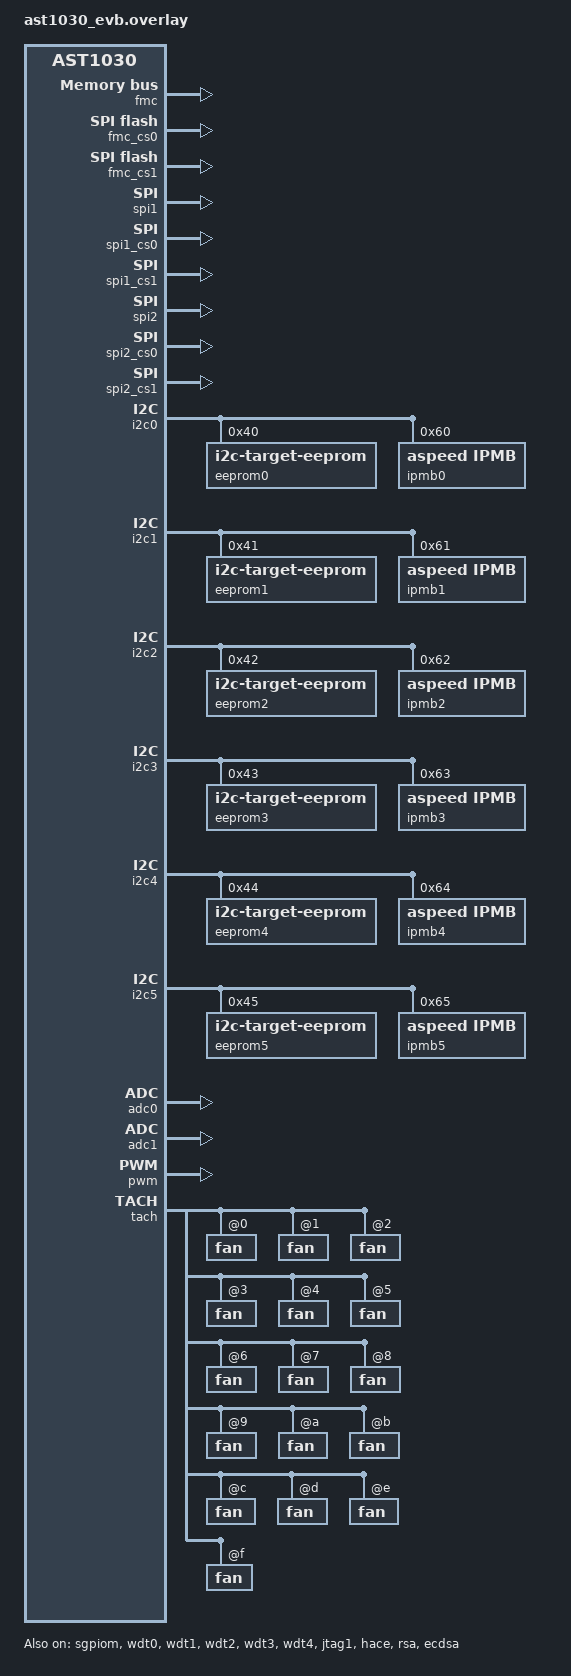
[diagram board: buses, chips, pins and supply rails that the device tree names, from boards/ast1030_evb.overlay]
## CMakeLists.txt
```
# SPDX-License-Identifier: Apache-2.0

cmake_minimum_required(VERSION 3.13.1)

find_package(Zephyr HINTS $ENV{ZEPHYR_BASE})
project(ast1030_spdm)

#zephyr_link_libraries(mbedTLS)
#zephyr_include_directories(mbedTLS)

add_subdirectory(src)
```

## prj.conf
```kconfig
# SYSTEM
CONFIG_POSIX_CLOCK=y
CONFIG_HEAP_MEM_POOL_SIZE=16384
CONFIG_THREAD_RUNTIME_STATS=y
CONFIG_STACK_SENTINEL=y
CONFIG_ENTROPY_GENERATOR=y

# LOGGING
CONFIG_LOG=y
CONFIG_LOG_BUFFER_SIZE=8192
CONFIG_COMMON_LIBC_MALLOC_ARENA_SIZE=65536
# SHELL
CONFIG_SHELL=y
CONFIG_SHELL_BACKEND_SERIAL_INIT_PRIORITY=99
CONFIG_SHELL_STACK_SIZE=4096

# DMTF/LIBSPDM
CONFIG_DMTF_LIBSPDM=y
CONFIG_DMTF_LIBSPDM_CONFIG_FILE="libspdm_config.h"

# MBEDTLS
CONFIG_MBEDTLS=y
CONFIG_MBEDTLS_BUILTIN=y
CONFIG_CUSTOM_MBEDTLS_CFG_FILE=y
CONFIG_MBEDTLS_CFG_FILE="mbedtls/libspdm_mbedtls_config.h"
CONFIG_MBEDTLS_INIT=y
CONFIG_MBEDTLS_ENABLE_HEAP=y
```

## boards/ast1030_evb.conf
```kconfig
# GPIO
CONFIG_GPIO=y
CONFIG_GPIO_ASPEED_SGPIOM=y
CONFIG_GPIO_ASPEED=y

# SPIO
CONFIG_SPI=y
CONFIG_SPI_ASPEED=y
CONFIG_SPI_NOR=n
CONFIG_SPI_NOR_MULTI_DEV=y
CONFIG_FLASH=y
CONFIG_FLASH_PAGE_LAYOUT=y

# i2C
CONFIG_I2C=y
CONFIG_I2C_ASPEED=y
CONFIG_I2C_TARGET=n

# I3C
CONFIG_I3C=y
CONFIG_I3C_ASPEED=y
CONFIG_I3C_USE_IBI=y
CONFIG_I3C_IBI_WORKQUEUE=y

# CRYPTO
CONFIG_CRYPTO=y
CONFIG_CRYPTO_ASPEED=y
CONFIG_RSA_ASPEED=y
CONFIG_HASH_SHELL=y
CONFIG_CRYPTO_SHELL=y
CONFIG_RSA_SHELL=y
CONFIG_ECDSA_SHELL=y
CONFIG_ENTROPY_ASPEED_TRNG=y

# TIMER/WATCHDOG
CONFIG_WATCHDOG=y
CONFIG_WDT_ASPEED=y
CONFIG_TIMER_ASPEED=y

# MISC
CONFIG_HWINFO=y
CONFIG_JTAG=n
CONFIG_SENSOR=n
CONFIG_REBOOT=y
CONFIG_JTAG_ASPEED=y
CONFIG_ABR_FLOW_CTRL_ASPEED=y
```

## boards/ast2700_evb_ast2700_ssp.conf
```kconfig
CONFIG_TEST_RANDOM_GENERATOR=y
CONFIG_CTR_DRBG_CSPRNG_GENERATOR=y
```

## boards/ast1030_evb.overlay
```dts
&fmc {
	status = "okay";
};

&fmc_cs0 {
	status = "okay";
	spi-max-buswidth = <4>;
	spi-max-frequency = <50000000>;

	partitions {
		compatible = "fixed-partitions";
		#address-cells = <1>;
		#size-cells = <1>;
		slot0_partition: partition@0 {
			label = "image-0";
			reg = <0x0 0x100000>;
		};
		slot1_partition: partition@1 {
		       label = "image-1";
		       reg = <0x0 0x100000>;
	       };
	};
};

&fmc_cs1 {
	status = "okay";
	spi-max-buswidth = <4>;
	spi-max-frequency = <50000000>;
};

&spi1 {
	status = "okay";
};

&spi1_cs0 {
	status = "okay";
	spi-max-buswidth = <4>;
	spi-max-frequency = <50000000>;
};

&spi1_cs1 {
	status = "okay";
	spi-max-buswidth = <4>;
	spi-max-frequency = <50000000>;
};

&spi2 {
	status = "okay";
};

&spi2_cs0 {
	status = "okay";
	spi-max-buswidth = <4>;
	spi-max-frequency = <50000000>;
};

&spi2_cs1 {
	status = "okay";
	spi-max-buswidth = <4>;
	spi-max-frequency = <50000000>;
};

&i2c0 {
	status = "okay";

	eeprom0: eeprom@40 {
		compatible = "zephyr,i2c-target-eeprom";
		reg = <0x40>;
		size = <256>;
	};

	ipmb0: ipmb@60 {
		compatible = "aspeed,ipmb";
		reg = <0x60>;
		size = <5>;
	};
};

&i2c1 {
	status = "okay";

	eeprom1: eeprom@41 {
		compatible = "zephyr,i2c-target-eeprom";
		reg = <0x41>;
		size = <256>;
	};

	ipmb1: ipmb@61 {
		compatible = "aspeed,ipmb";
		reg = <0x61>;
		size = <5>;
	};
};

&i2c2 {
	status = "okay";

	eeprom2: eeprom@42 {
		compatible = "zephyr,i2c-target-eeprom";
		reg = <0x42>;
		size = <256>;
	};

	ipmb2: ipmb@62 {
		compatible = "aspeed,ipmb";
		reg = <0x62>;
		size = <5>;
	};
};

&i2c3 {
	status = "okay";

	eeprom3: eeprom@43 {
		compatible = "zephyr,i2c-target-eeprom";
		reg = <0x43>;
		size = <256>;
	};

	ipmb3: ipmb@63 {
		compatible = "aspeed,ipmb";
		reg = <0x63>;
		size = <5>;
	};
};

&i2c4 {
	status = "okay";

	eeprom4: eeprom@44 {
		compatible = "zephyr,i2c-target-eeprom";
		reg = <0x44>;
		size = <256>;
	};

	ipmb4: ipmb@64 {
		compatible = "aspeed,ipmb";
		reg = <0x64>;
		size = <5>;
	};
};

&i2c5 {
	status = "okay";

	eeprom5: eeprom@45 {
		compatible = "zephyr,i2c-target-eeprom";
		reg = <0x45>;
		size = <256>;
	};

	ipmb5: ipmb@65 {
		compatible = "aspeed,ipmb";
		reg = <0x65>;
		size = <5>;
	};
};

&sgpiom {
	status = "okay";
	sgpiom_a_d {
		status = "okay";
	};
	sgpiom_e_h {
		status = "okay";
	};
	sgpiom_i_l {
		status = "okay";
	};
	sgpiom_m_p {
		status = "okay";
	};
};

&wdt0 {
	status = "okay";
};

&wdt1 {
	status = "okay";
};

&wdt2 {
	status = "okay";
};

&wdt3 {
	status = "okay";
};

&wdt4 {
	status = "okay";
};

&jtag1 {
	status = "okay";
};

/*
 * i3c0-to-i3c1 Loopback:
 * i3c0 plays the role as the bus controller
 * i3c1 plays the rols as the target device
 *
 * In I3C shell command, the following devices will be found:
 * i3c@7e7a2000 -> i3c0 controller
 * i3cdev@7ec80011000 -> the i3c device attached to i3c0 controller
 *
 * i3c@7e7a2000 -> i3c1 controller
 * i3c-tmq@7ec80011000 -> i3c target mqueue device
 */

#if 0
&i3c0 {
	status = "okay";
	sda-tx-hold-ns = <20>;
	i3c-pp-scl-hi-period-ns = <250>;
	i3c-pp-scl-lo-period-ns = <250>;

	i3cdev@7ec80011000 {
		compatible = "i3c-dummy-device";
		reg = <0x0 0x7ec 0x80011000>;
		status = "okay";
	};
};

&i3c1 {
	secondary;
	dcr = <0xcc>;
	status = "okay";

	i3c-tmq@7ec80011000 {
		compatible = "i3c-target-mqueue";
		reg = <0x0 0x7ec 0x80011000>;
		msg-size = <128>;
		num-of-msgs = <4>;
		mandatory-data-byte = <0xbf>;
		status = "okay";
	};
};
#endif

&adc0 {
	status = "okay";

	pinctrl-names = "default";
	pinctrl-0 = <pinctrl_adc0_default pinctrl_adc1_default
		pinctrl_adc2_default pinctrl_adc3_default
		pinctrl_adc4_default pinctrl_adc5_default
		pinctrl_adc6_default pinctrl_adc7_default>;
};

&adc1 {
	status = "okay";

	pinctrl-names = "default";
	pinctrl-0 = <pinctrl_adc8_default pinctrl_adc9_default
		pinctrl_adc10_default pinctrl_adc11_default
		pinctrl_adc12_default pinctrl_adc13_default
		pinctrl_adc14_default pinctrl_adc15_default>;
};

&pwm {
	status = "okay";

	pinctrl-names = "default";
	pinctrl-0 = <pinctrl_pwm0_default pinctrl_pwm1_default
			pinctrl_pwm2_default pinctrl_pwm3_default
			pinctrl_pwm4_default pinctrl_pwm5_default
			pinctrl_pwm6_default pinctrl_pwm7_default
			pinctrl_pwm8_default pinctrl_pwm9_default
			pinctrl_pwm10_default pinctrl_pwm11_default
			pinctrl_pwm12_default pinctrl_pwm13_default
			pinctrl_pwm14_default pinctrl_pwm15_default>;

};

&tach {
	status = "okay";

	pinctrl-names = "default";
	pinctrl-0 = <pinctrl_tach0_default pinctrl_tach1_default
			pinctrl_tach2_default pinctrl_tach3_default
			pinctrl_tach4_default pinctrl_tach5_default
			pinctrl_tach6_default pinctrl_tach7_default
			pinctrl_tach8_default pinctrl_tach9_default
			pinctrl_tach10_default pinctrl_tach11_default
			pinctrl_tach12_default pinctrl_tach13_default
			pinctrl_tach14_default pinctrl_tach15_default>;
	fan@0 {
		reg = <0>;
		pulse-pr = <2>;
		min-rpm = <1000>;
		tach-div = <5>;
	};

	fan@1 {
		reg = <1>;
		pulse-pr = <2>;
		min-rpm = <1000>;
		tach-div = <5>;
	};

	fan@2 {
		reg = <2>;
		pulse-pr = <2>;
		min-rpm = <1000>;
		tach-div = <5>;
	};

	fan@3 {
		reg = <3>;
		pulse-pr = <2>;
		min-rpm = <1000>;
		tach-div = <5>;
	};

	fan@4 {
		reg = <4>;
		pulse-pr = <2>;
		min-rpm = <1000>;
		tach-div = <5>;
	};

	fan@5 {
		reg = <5>;
		pulse-pr = <2>;
		min-rpm = <1000>;
		tach-div = <5>;
	};

	fan@6 {
		reg = <6>;
		pulse-pr = <2>;
		min-rpm = <1000>;
		tach-div = <5>;
	};

	fan@7 {
		reg = <7>;
		pulse-pr = <2>;
		min-rpm = <1000>;
		tach-div = <5>;
	};

	fan@8 {
		reg = <8>;
		pulse-pr = <2>;
		min-rpm = <1000>;
		tach-div = <5>;
	};

	fan@9 {
		reg = <9>;
		pulse-pr = <2>;
		min-rpm = <1000>;
		tach-div = <5>;
	};

	fan@a {
		reg = <0xa>;
		pulse-pr = <2>;
		min-rpm = <1000>;
		tach-div = <5>;
	};

	fan@b {
		reg = <0xb>;
		pulse-pr = <2>;
		min-rpm = <1000>;
		tach-div = <5>;
	};

	fan@c {
		reg = <0xc>;
		pulse-pr = <2>;
		min-rpm = <1000>;
		tach-div = <5>;
	};

	fan@d {
		reg = <0xd>;
		pulse-pr = <2>;
		min-rpm = <1000>;
		tach-div = <5>;
	};

	fan@e {
		reg = <0xe>;
		pulse-pr = <2>;
		min-rpm = <1000>;
		tach-div = <5>;
	};

	fan@f {
		reg = <0xf>;
		pulse-pr = <2>;
		min-rpm = <1000>;
		tach-div = <5>;
	};
};

&hace {
	status = "okay";
};

&rsa {
	status = "okay";
};

&ecdsa {
	status = "okay";
};
```

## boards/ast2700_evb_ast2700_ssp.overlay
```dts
&dram_ro_region {
	reg = <0x0 DT_SIZE_K(512)>;
};

&dram_rw_region {
	reg = <DT_SIZE_K(512) DT_SIZE_K(1024)>;
};
```

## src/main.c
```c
#include <stdio.h>
#include <stdlib.h>
#include <zephyr.h>
#include <stdint.h>
#include <assert.h>

#include <logging/log.h>
LOG_MODULE_REGISTER(main, CONFIG_LOG_DEFAULT_LEVEL);

#include <spdm_req.h>
#include <spdm_rsp.h>

#define SPDM_REQUESTER_PRIO 4
#define SPDM_REQUESTER_STACK_SIZE 16384
K_THREAD_STACK_DEFINE(spdm_requester_stack, SPDM_REQUESTER_STACK_SIZE);
struct k_thread spdm_requester_thread_data;
k_tid_t spdm_requester_tid;

#define SPDM_RESPONDER_PRIO 4
#define SPDM_RESPONDER_STACK_SIZE 16384
K_THREAD_STACK_DEFINE(spdm_responder_stack, SPDM_RESPONDER_STACK_SIZE);
struct k_thread spdm_responder_thread_data;
k_tid_t spdm_responder_tid;

int main()
{
	spdm_responder_tid = k_thread_create(
		&spdm_responder_thread_data,
		spdm_responder_stack,
		K_THREAD_STACK_SIZEOF(spdm_responder_stack),
		//spdm_responder_main,
		spdm_responder_main,
		NULL, NULL, NULL,
		SPDM_RESPONDER_PRIO, 0, K_MSEC(10));
	k_thread_name_set(spdm_responder_tid, "SPDM RSP");

	spdm_requester_tid = k_thread_create(
		&spdm_requester_thread_data,
		spdm_requester_stack,
		K_THREAD_STACK_SIZEOF(spdm_requester_stack),
		//spdm_requester_main,
		spdm_requester_main,
		NULL, NULL, NULL,
		SPDM_REQUESTER_PRIO, 0, K_MSEC(20));
	k_thread_name_set(spdm_requester_tid, "SPDM REQ");

	return 0;
}
```

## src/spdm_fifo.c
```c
/*
 * Copyright (c) 2022 ASPEED Technology Inc.
 *
 * SPDX-License-Identifier: MIT
 */

#include <zephyr/kernel.h>

K_FIFO_DEFINE(REQ_TO_RSP);
K_FIFO_DEFINE(RSP_TO_REQ);
```

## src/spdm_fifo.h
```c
#include <zephyr.h>

#pragma once
extern struct k_fifo REQ_TO_RSP;
extern struct k_fifo RSP_TO_REQ;

struct spdm_fifo_item_t {
	void *fifo_reserved;
	uint8_t *message;
	size_t message_size;
};
```

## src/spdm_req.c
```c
/*
 * Copyright (c) 2022 ASPEED Technology Inc.
 *
 * SPDX-License-Identifier: MIT
 */

#include "library/cryptlib/cryptlib_cert.h"
#include "library/spdm_return_status.h"
#include <stdlib.h>
#include <assert.h>

#include <zephyr/kernel.h>
#include <zephyr/logging/log.h>

#include <spdm_fifo.h>

LOG_MODULE_REGISTER(spdm_req, CONFIG_LOG_DEFAULT_LEVEL);

#include <industry_standard/spdm.h>
#include <library/spdm_common_lib.h>
#include <library/spdm_requester_lib.h>
#include <library/spdm_transport_mctp_lib.h>
#include <hal/library/memlib.h>
#include <hal/library/cryptlib/cryptlib_cert.h>
#include <spdm_device_secret_lib_internal.h>
#include <cert.h>

#define NDEBUG
#define LIBSPDM_MAX_SPDM_MSG_SIZE 2048
#define LIBSPDM_MAX_SENDER_RECEIVER_BUFFER_SIZE (1024 - 0x100)
#define LIBSPDM_SENDER_BUFFER_SIZE LIBSPDM_MAX_SENDER_RECEIVER_BUFFER_SIZE
#define LIBSPDM_RECEIVER_BUFFER_SIZE LIBSPDM_MAX_SENDER_RECEIVER_BUFFER_SIZE
#define LIBSPDM_ASSERT(x) assert(x)

static bool m_send_receive_buffer_acquired = false;
static uint8_t m_send_receive_buffer[LIBSPDM_MAX_SENDER_RECEIVER_BUFFER_SIZE];
static libspdm_return_t spdm_device_acquire_sender_buffer (
	void *context, void **msg_buf_ptr)
{
	LIBSPDM_ASSERT (!m_send_receive_buffer_acquired);
	*msg_buf_ptr = m_send_receive_buffer;
	libspdm_zero_mem (m_send_receive_buffer, sizeof(m_send_receive_buffer));
	m_send_receive_buffer_acquired = true;
	return LIBSPDM_STATUS_SUCCESS;
}

static void spdm_device_release_sender_buffer (
	void *context, const void *msg_buf_ptr)
{
	LIBSPDM_ASSERT (m_send_receive_buffer_acquired);
	LIBSPDM_ASSERT (msg_buf_ptr == m_send_receive_buffer);
	m_send_receive_buffer_acquired = false;
	return;
}

static libspdm_return_t spdm_device_acquire_receiver_buffer (
	void *context, void **msg_buf_ptr)
{
	LIBSPDM_ASSERT (!m_send_receive_buffer_acquired);
	*msg_buf_ptr = m_send_receive_buffer;
	libspdm_zero_mem (m_send_receive_buffer, sizeof(m_send_receive_buffer));
	m_send_receive_buffer_acquired = true;
	return LIBSPDM_STATUS_SUCCESS;
}

static void spdm_device_release_receiver_buffer (
	void *context, const void *msg_buf_ptr)
{
	LIBSPDM_ASSERT (m_send_receive_buffer_acquired);
	LIBSPDM_ASSERT (msg_buf_ptr == m_send_receive_buffer);
	m_send_receive_buffer_acquired = false;
	return;
}

static libspdm_return_t spdm_device_send_message(void *spdm_context,
					  size_t message_size,
					  const void *message,
					  uint64_t timeout)
{
	LOG_DBG("spdm_device_send_message ctx=%p buffer=%p", spdm_context, message);
	LOG_HEXDUMP_DBG(message, message_size, "spdm_device_send_message");
	
	struct spdm_fifo_item_t *item = (struct spdm_fifo_item_t *)malloc(sizeof(struct spdm_fifo_item_t));
	item->fifo_reserved = NULL;
	item->message = (uint8_t *)malloc(message_size);
	memcpy(item->message, message, message_size);
	item->message_size = message_size;

	k_fifo_put(&REQ_TO_RSP, item);
	return 0;
}


static libspdm_return_t spdm_device_receive_message(void *spdm_context, size_t *message_size, void **message, uint64_t timeout)
{
	struct spdm_fifo_item_t *item = k_fifo_get(&RSP_TO_REQ, K_FOREVER);
	LOG_DBG("spdm_device_receive_message ctx=%p message=%p size=%d", spdm_context, item->message, item->message_size);

	if (item != NULL && item->message != NULL)
	{
		uint8_t *buffer = *message;
		*message_size = item->message_size;
		memcpy(buffer, item->message, item->message_size);
		LOG_HEXDUMP_DBG(buffer, item->message_size, "Incoming message");
		free(item->message);
		free(item);
	}

	return 0;
}

static void *spdm_client_init()
{
	void *spdm_ctx = (void *)malloc(libspdm_get_context_size());
	libspdm_return_t ret;
	bool res;
	
	LOG_INF("SPDM context size=%d ptr=%p", libspdm_get_context_size(), spdm_ctx);
	assert(spdm_ctx != NULL);

	libspdm_init_context(spdm_ctx);
	

	libspdm_register_device_io_func (
		spdm_ctx,
		spdm_device_send_message,
		spdm_device_receive_message);

	libspdm_register_transport_layer_func (
		spdm_ctx,
		LIBSPDM_MAX_SPDM_MSG_SIZE, // defined by the Integrator
		LIBSPDM_MCTP_TRANSPORT_HEADER_SIZE,
		LIBSPDM_MCTP_TRANSPORT_TAIL_SIZE,
		libspdm_transport_mctp_encode_message,
		libspdm_transport_mctp_decode_message);

	libspdm_register_device_buffer_func (
		spdm_ctx,
		LIBSPDM_SENDER_BUFFER_SIZE, // defined by the Integrator
		LIBSPDM_RECEIVER_BUFFER_SIZE, // defined by the Integrator
		spdm_device_acquire_sender_buffer,
		spdm_device_release_sender_buffer,
		spdm_device_acquire_receiver_buffer,
		spdm_device_release_receiver_buffer);


	LOG_INF("m_send_receive_buffer=%p", (void *)m_send_receive_buffer);

	size_t scratch_buffer_size = libspdm_get_sizeof_required_scratch_buffer(spdm_ctx);
	void *scratch_buffer = (void *)malloc(scratch_buffer_size);

	LOG_INF("SPDM scratch_buffer size=%d ptr=%p", scratch_buffer_size, scratch_buffer);
	assert(scratch_buffer != NULL);

	libspdm_set_scratch_buffer(spdm_ctx, scratch_buffer, scratch_buffer_size);
	libspdm_data_parameter_t parameter;
	spdm_version_number_t spdm_version[3];
	uint64_t data64;
	uint32_t data32;
	uint16_t data16;
	uint8_t data8;

	libspdm_zero_mem(&parameter, sizeof(parameter));
	parameter.location = LIBSPDM_DATA_LOCATION_LOCAL;
	spdm_version[0] = SPDM_MESSAGE_VERSION_10 << SPDM_VERSION_NUMBER_SHIFT_BIT;
	spdm_version[1] = SPDM_MESSAGE_VERSION_11 << SPDM_VERSION_NUMBER_SHIFT_BIT;
	spdm_version[2] = SPDM_MESSAGE_VERSION_12 << SPDM_VERSION_NUMBER_SHIFT_BIT;
	libspdm_set_data(spdm_ctx, LIBSPDM_DATA_SPDM_VERSION, &parameter, &spdm_version, sizeof(spdm_version));

	libspdm_zero_mem(&parameter, sizeof(parameter));
	parameter.location = LIBSPDM_DATA_LOCATION_LOCAL;
	data8 = 0;
	libspdm_set_data(spdm_ctx, LIBSPDM_DATA_CAPABILITY_CT_EXPONENT, &parameter, &data8, sizeof(data8));

	libspdm_zero_mem(&parameter, sizeof(parameter));
	parameter.location = LIBSPDM_DATA_LOCATION_LOCAL;
	data32 = 0 | \
		SPDM_GET_CAPABILITIES_REQUEST_FLAGS_CERT_CAP |
		SPDM_GET_CAPABILITIES_REQUEST_FLAGS_CHAL_CAP |
		SPDM_GET_CAPABILITIES_REQUEST_FLAGS_ENCRYPT_CAP |
		SPDM_GET_CAPABILITIES_REQUEST_FLAGS_MAC_CAP |
		/* SPDM_GET_CAPABILITIES_REQUEST_FLAGS_MUT_AUTH_CAP | */
		SPDM_GET_CAPABILITIES_REQUEST_FLAGS_KEY_EX_CAP |
		/* SPDM_GET_CAPABILITIES_REQUEST_FLAGS_PSK_CAP_REQUESTER | */
		SPDM_GET_CAPABILITIES_REQUEST_FLAGS_ENCAP_CAP |
		SPDM_GET_CAPABILITIES_REQUEST_FLAGS_HBEAT_CAP |
		SPDM_GET_CAPABILITIES_REQUEST_FLAGS_KEY_UPD_CAP |
		SPDM_GET_CAPABILITIES_REQUEST_FLAGS_CHUNK_CAP |
		/* SPDM_GET_CAPABILITIES_REQUEST_FLAGS_HANDSHAKE_IN_THE_CLEAR_CAP |
	  * SPDM_GET_CAPABILITIES_REQUEST_FLAGS_PUB_KEY_ID_CAP |*/
		0;
	libspdm_set_data(spdm_ctx, LIBSPDM_DATA_CAPABILITY_FLAGS, &parameter, &data32, sizeof(data32));

	libspdm_zero_mem(&parameter, sizeof(parameter));
	parameter.location = LIBSPDM_DATA_LOCATION_LOCAL;
	data64 = 0;
	libspdm_set_data (spdm_ctx, LIBSPDM_DATA_CAPABILITY_RTT_US, &parameter, &data64, sizeof(data64));

	libspdm_zero_mem(&parameter, sizeof(parameter));
	parameter.location = LIBSPDM_DATA_LOCATION_LOCAL;
	data8 = SPDM_MEASUREMENT_SPECIFICATION_DMTF;
	libspdm_set_data (spdm_ctx, LIBSPDM_DATA_MEASUREMENT_SPEC, &parameter, &data8, sizeof(data8));

	libspdm_zero_mem(&parameter, sizeof(parameter));
	parameter.location = LIBSPDM_DATA_LOCATION_LOCAL;
	data32 = 0 | \
		SPDM_ALGORITHMS_BASE_ASYM_ALGO_TPM_ALG_ECDSA_ECC_NIST_P256 | \
		SPDM_ALGORITHMS_BASE_ASYM_ALGO_TPM_ALG_ECDSA_ECC_NIST_P384 | \
		0;
	libspdm_set_data (spdm_ctx, LIBSPDM_DATA_BASE_ASYM_ALGO, &parameter, &data32, sizeof(data32));

	libspdm_zero_mem(&parameter, sizeof(parameter));
	parameter.location = LIBSPDM_DATA_LOCATION_LOCAL;
	data32 = 0 | \
		SPDM_ALGORITHMS_BASE_HASH_ALGO_TPM_ALG_SHA_256 | \
		SPDM_ALGORITHMS_BASE_HASH_ALGO_TPM_ALG_SHA_384 | \
		0;
	libspdm_set_data (spdm_ctx, LIBSPDM_DATA_BASE_HASH_ALGO, &parameter, &data32, sizeof(data32));

	libspdm_zero_mem(&parameter, sizeof(parameter));
	parameter.location = LIBSPDM_DATA_LOCATION_LOCAL;
	data16 = 0 | \
		SPDM_ALGORITHMS_DHE_NAMED_GROUP_SECP_256_R1 | \
		SPDM_ALGORITHMS_DHE_NAMED_GROUP_SECP_384_R1 | \
		0;
	ret = libspdm_set_data (spdm_ctx, LIBSPDM_DATA_DHE_NAME_GROUP, &parameter, &data16, sizeof(data16));

	libspdm_zero_mem(&parameter, sizeof(parameter));
	parameter.location = LIBSPDM_DATA_LOCATION_LOCAL;
	data16 = 0 | \
		SPDM_ALGORITHMS_AEAD_CIPHER_SUITE_AES_256_GCM | \
		0;
	libspdm_set_data (spdm_ctx, LIBSPDM_DATA_AEAD_CIPHER_SUITE, &parameter, &data16, sizeof(data16));

	libspdm_zero_mem(&parameter, sizeof(parameter));
	parameter.location = LIBSPDM_DATA_LOCATION_LOCAL;
	data16 = 0 | \
		SPDM_ALGORITHMS_BASE_ASYM_ALGO_TPM_ALG_ECDSA_ECC_NIST_P256 | \
		SPDM_ALGORITHMS_BASE_ASYM_ALGO_TPM_ALG_ECDSA_ECC_NIST_P384 | \
		0;
	libspdm_set_data (spdm_ctx, LIBSPDM_DATA_REQ_BASE_ASYM_ALG, &parameter, &data16, sizeof(data16));

	libspdm_zero_mem(&parameter, sizeof(parameter));
	parameter.location = LIBSPDM_DATA_LOCATION_LOCAL;
	data16 = 0 | \
		SPDM_ALGORITHMS_KEY_SCHEDULE_HMAC_HASH | \
		0;
	libspdm_set_data (spdm_ctx, LIBSPDM_DATA_KEY_SCHEDULE, &parameter, &data16, sizeof(data16));

	libspdm_zero_mem(&parameter, sizeof(parameter));
	parameter.location = LIBSPDM_DATA_LOCATION_LOCAL;
	data8 = SPDM_ALGORITHMS_OPAQUE_DATA_FORMAT_1;
	libspdm_set_data(spdm_ctx, LIBSPDM_DATA_OTHER_PARAMS_SUPPORT, &parameter,
		  &data8, sizeof(data8));

#if LIBSPDM_CHECK_SPDM_CONTEXT
	res = libspdm_check_context(spdm_ctx);
	if (!res) {
		LOG_ERR("SPDM Context check invalid");
		goto cleanup;
	}
#endif

	ret = libspdm_init_connection(spdm_ctx, 0);
	if (ret != LIBSPDM_STATUS_SUCCESS) {
		LOG_ERR("libspdm_init_connetion ret=%08x", ret);
		goto cleanup;
	}

	uint32_t use_asym_algo, use_hash_algo;
	void *data = NULL, *hash = NULL;
	const uint8_t *root_cert = NULL;
	size_t data_size, hash_size, root_cert_size;
	
	parameter.location = LIBSPDM_DATA_LOCATION_CONNECTION;
	data_size = sizeof(data32);
	libspdm_get_data(spdm_ctx, LIBSPDM_DATA_BASE_ASYM_ALGO, &parameter, &data32, &data_size);
	use_asym_algo = data32;

	parameter.location = LIBSPDM_DATA_LOCATION_CONNECTION;
	data_size = sizeof(data32);
	libspdm_get_data(spdm_ctx, LIBSPDM_DATA_BASE_HASH_ALGO, &parameter, &data32, &data_size);
	use_hash_algo = data32;

	res = libspdm_read_responder_root_public_certificate(use_hash_algo, use_asym_algo, &data, &data_size, &hash, &hash_size);
	if (res) {
		libspdm_x509_get_cert_from_cert_chain(
			(uint8_t *)data + sizeof(spdm_cert_chain_t) + hash_size, 
			data_size - sizeof(spdm_cert_chain_t) - hash_size,
			0, &root_cert, &root_cert_size);

		libspdm_zero_mem(&parameter, sizeof(parameter));
		parameter.location = LIBSPDM_DATA_LOCATION_LOCAL;
		libspdm_set_data(spdm_ctx, LIBSPDM_DATA_PEER_PUBLIC_ROOT_CERT, &parameter, (void *)root_cert, root_cert_size);
	}

	return spdm_ctx;

cleanup:
	LOG_INF("Clean up");
	libspdm_deinit_context(spdm_ctx);
	free(scratch_buffer);
	free(spdm_ctx);
	return NULL;
}

libspdm_return_t
spdm_authentication(void *context, uint8_t *slot_mask,
		    void *total_digest_buffer, uint8_t slot_id,
		    size_t *cert_chain_size, void *cert_chain,
		    uint8_t measurement_hash_type, void *measurement_hash)
{
	libspdm_return_t status;
	size_t cert_chain_buffer_size;
	uint8_t index;
	uint8_t m_other_slot_id = 0;	

	status = libspdm_get_digest(context, NULL, slot_mask,
	total_digest_buffer);
	if (LIBSPDM_STATUS_IS_ERROR(status)) {
		return status;
	}
	for (index = 1; index < SPDM_MAX_SLOT_COUNT; index++) {
		if ((*slot_mask & (1 << index)) != 0) {
			m_other_slot_id = index;
		}
	}

	cert_chain_buffer_size = *cert_chain_size;

	if (slot_id != 0xFF) {
		if (slot_id == 0) {
			status = libspdm_get_certificate(
				context, NULL, 0, cert_chain_size, cert_chain);
			if (LIBSPDM_STATUS_IS_ERROR(status)) {
				LOG_ERR("libspdm_get_certificate 0 status=%08x", status);
				return status;
			}
			if (m_other_slot_id != 0) {
				*cert_chain_size = cert_chain_buffer_size;
				libspdm_zero_mem(cert_chain, cert_chain_buffer_size);
				status = libspdm_get_certificate(
					context, NULL, m_other_slot_id, cert_chain_size, cert_chain);
			if (LIBSPDM_STATUS_IS_ERROR(status)) {
				LOG_ERR("libspdm_get_certificate 1 status=%08x", status);
					return status;
				}
			}
			} else {
			status = libspdm_get_certificate(
				context, NULL, slot_id, cert_chain_size, cert_chain);
			if (LIBSPDM_STATUS_IS_ERROR(status)) {
				LOG_ERR("libspdm_get_certificate 2 status=%08x", status);
				return status;
			}
		}
	}

	status = libspdm_challenge(context, NULL, slot_id, measurement_hash_type,
			    measurement_hash, NULL);
	if (LIBSPDM_STATUS_IS_ERROR(status)) {
				LOG_ERR("libspdm_challenge 3 status=%08x", status);
		return status;
	}

	status = libspdm_get_digest(context, NULL, slot_mask,
	total_digest_buffer);
	if (LIBSPDM_STATUS_IS_ERROR(status)) {
				LOG_ERR("libspdm_get_digest 3 status=%08x", status);
		return status;
	}

	if (slot_id != 0xFF) {
		*cert_chain_size = cert_chain_buffer_size;
		status = libspdm_get_certificate(
			context, NULL, slot_id, cert_chain_size, cert_chain);
		if (LIBSPDM_STATUS_IS_ERROR(status)) {
				LOG_ERR("libspdm_get_certificate 3 status=%08x", status);
			return status;
		}
	}

	status = libspdm_get_digest(context, NULL, slot_mask,
	total_digest_buffer);
	if (LIBSPDM_STATUS_IS_ERROR(status)) {
				LOG_ERR("libspdm_get_digest 3 status=%08x", status);
		return status;
	}

	return LIBSPDM_STATUS_SUCCESS;
}

libspdm_return_t do_authentication_via_spdm(void *spdm_context)
{
	libspdm_return_t status;
	uint8_t slot_mask;
	uint8_t total_digest_buffer[LIBSPDM_MAX_HASH_SIZE * SPDM_MAX_SLOT_COUNT];
	uint8_t measurement_hash[LIBSPDM_MAX_HASH_SIZE];
	size_t cert_chain_size;
	uint8_t cert_chain[LIBSPDM_MAX_CERT_CHAIN_SIZE];

	libspdm_zero_mem(total_digest_buffer, sizeof(total_digest_buffer));
	cert_chain_size = sizeof(cert_chain);
	libspdm_zero_mem(cert_chain, sizeof(cert_chain));
	libspdm_zero_mem(measurement_hash, sizeof(measurement_hash));
	status = spdm_authentication(spdm_context, &slot_mask,
			      &total_digest_buffer, 0,
			      &cert_chain_size, cert_chain,
			      SPDM_CHALLENGE_REQUEST_ALL_MEASUREMENTS_HASH,
			      measurement_hash);
	if (LIBSPDM_STATUS_IS_ERROR(status)) {
		return status;
	}
	return LIBSPDM_STATUS_SUCCESS;
}

/**
 * This function executes SPDM measurement and extend to TPM.
 *
 * @param[in]  spdm_context            The SPDM context for the device.
 **/
libspdm_return_t spdm_send_receive_get_measurement(void *spdm_context,
						   const uint32_t *session_id,
						   uint32_t use_measurement_operation,
						   uint8_t use_slot_id,
						   uint8_t use_measurement_attribute)
{
	libspdm_return_t status;
	uint8_t number_of_blocks;
	uint8_t number_of_block;
	uint8_t received_number_of_block;
	uint32_t measurement_record_length;
	uint8_t measurement_record[LIBSPDM_MAX_MEASUREMENT_RECORD_SIZE];
	uint8_t index;
	uint8_t request_attribute;

	if (use_measurement_operation == SPDM_GET_MEASUREMENTS_REQUEST_MEASUREMENT_OPERATION_ALL_MEASUREMENTS) {

		/* request all at one time.*/

		request_attribute =
			SPDM_GET_MEASUREMENTS_REQUEST_ATTRIBUTES_GENERATE_SIGNATURE;
		measurement_record_length = sizeof(measurement_record);
		status = libspdm_get_measurement(
			spdm_context, session_id, request_attribute,
			SPDM_GET_MEASUREMENTS_REQUEST_MEASUREMENT_OPERATION_ALL_MEASUREMENTS,
			use_slot_id & 0xF, NULL, &number_of_block,
			&measurement_record_length, measurement_record);
		if (LIBSPDM_STATUS_IS_ERROR(status)) {
			return status;
		}
	} else {
		request_attribute = use_measurement_attribute;

		/* 1. query the total number of measurements available.*/

		status = libspdm_get_measurement(
			spdm_context, session_id, request_attribute,
			SPDM_GET_MEASUREMENTS_REQUEST_MEASUREMENT_OPERATION_TOTAL_NUMBER_OF_MEASUREMENTS,
			use_slot_id & 0xF, NULL, &number_of_blocks, NULL, NULL);
		if (LIBSPDM_STATUS_IS_ERROR(status)) {
			return status;
		}
		LOG_INF("Number of blocks = %d", number_of_blocks);
		received_number_of_block = 0;
		for (index = 1; index <= 0xFE; index++) {
			if (received_number_of_block == number_of_blocks) {
				break;
			}
			LOG_INF("Index %d", index);

			/* 2. query measurement one by one
			 * get signature in last message only.*/

			if (received_number_of_block == number_of_blocks - 1) {
				request_attribute = use_measurement_attribute |
					SPDM_GET_MEASUREMENTS_REQUEST_ATTRIBUTES_GENERATE_SIGNATURE;
			}
			measurement_record_length = sizeof(measurement_record);
			status = libspdm_get_measurement(
				spdm_context, session_id, request_attribute,
				index, use_slot_id & 0xF, NULL, &number_of_block,
				&measurement_record_length, measurement_record);
			if (LIBSPDM_STATUS_IS_ERROR(status)) {
				continue;
			}
			received_number_of_block += 1;
		}
		if (received_number_of_block != number_of_blocks) {
			return LIBSPDM_STATUS_INVALID_STATE_PEER;
		}
	}
	return LIBSPDM_STATUS_SUCCESS;
}

/**
 * This function executes SPDM measurement and extend to TPM.
 *
 * @param[in]  spdm_context            The SPDM context for the device.
 **/
libspdm_return_t do_measurement_via_spdm(void *spdm_context, const uint32_t *session_id)
{
	libspdm_return_t status;

	status = spdm_send_receive_get_measurement(spdm_context, session_id, SPDM_GET_MEASUREMENTS_REQUEST_MEASUREMENT_OPERATION_ALL_MEASUREMENTS, 0, SPDM_GET_MEASUREMENTS_REQUEST_ATTRIBUTES_GENERATE_SIGNATURE);
	if (LIBSPDM_STATUS_IS_ERROR(status)) {
		return status;
	}
	return LIBSPDM_STATUS_SUCCESS;
}

libspdm_return_t do_session_via_spdm(void *spdm_context, bool use_psk, uint32_t *session_id)
{
	libspdm_return_t status;
	uint8_t heartbeat_period;
	uint8_t measurement_hash[LIBSPDM_MAX_HASH_SIZE];

	heartbeat_period = 0;
	libspdm_zero_mem(measurement_hash, sizeof(measurement_hash));
	status = libspdm_start_session(spdm_context, use_psk,
				LIBSPDM_TEST_PSK_HINT_STRING,
				sizeof(LIBSPDM_TEST_PSK_HINT_STRING),
				SPDM_CHALLENGE_REQUEST_TCB_COMPONENT_MEASUREMENT_HASH,
				0, 0, session_id,
				&heartbeat_period, measurement_hash);
	if (LIBSPDM_STATUS_IS_ERROR(status)) {
		LOG_ERR("libspdm_start_session - %x", (uint32_t)status);
		return status;
	}

	status = libspdm_heartbeat(spdm_context, *session_id);
	if (LIBSPDM_STATUS_IS_ERROR(status)) {
		LOG_ERR("libspdm_heartbeat - %x", (uint32_t)status);
	}

	return status;
}


void spdm_requester_main(void *a, void *b, void *c)
{
	void *spdm_context = NULL;
	libspdm_return_t status;

	spdm_context = spdm_client_init();
	if (spdm_context != NULL) {
		status = do_authentication_via_spdm(spdm_context);
		if (LIBSPDM_STATUS_IS_ERROR(status)) {
			LOG_ERR("do_authentication_via_spdm ret=%08x", status);
			goto cleanup;
		}

		LOG_INF("SPDM Authentication Success");

		uint32_t count = 0;
		do {
			status = do_measurement_via_spdm(spdm_context, NULL);
			if (LIBSPDM_STATUS_IS_ERROR(status)) {
				LOG_ERR("do_measurement_via_spdm - %x\n", (uint32_t)status);
				goto cleanup;
			}

			LOG_INF("SPDM Measuremnt Success count=%d", ++count);
			k_msleep(1);
		} while (0);

		uint32_t session_id = 0x0123;
		status = do_session_via_spdm(spdm_context, false, &session_id);
		if (LIBSPDM_STATUS_IS_ERROR(status)) {
			LOG_ERR("do_session_via_spdm - %x", status);
			goto cleanup;
		}
		LOG_INF("Session initiated");

		do {
			status = libspdm_heartbeat(spdm_context, session_id);
			if (LIBSPDM_STATUS_IS_ERROR(status)) {
				LOG_ERR("libspdm_heartbeat - %x", status);
				goto cleanup;
			}

			status = do_measurement_via_spdm(spdm_context, &session_id);
			if (LIBSPDM_STATUS_IS_ERROR(status)) {
				LOG_ERR("do_measurement_via_spdm - %x\n", (uint32_t)status);
				goto cleanup;
			}

			LOG_INF("SPDM Measuremnt success count=%d", ++count);
			k_msleep(100);
		} while (1);
cleanup:
		libspdm_deinit_context(spdm_context);
		free(spdm_context);
	}

	while (1) {
		k_msleep(1000);
	}
}
```

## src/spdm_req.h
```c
#pragma once

void spdm_requester_main(void *a, void *b, void *c);
```

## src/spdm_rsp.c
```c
/*
 * Copyright (c) 2022 ASPEED Technology Inc.
 *
 * SPDX-License-Identifier: MIT
 */

#include <stdlib.h>
#include <assert.h>
#include <zephyr/kernel.h>

#include <spdm_rsp.h>
#include <spdm_fifo.h>

#include <zephyr/logging/log.h>

LOG_MODULE_REGISTER(spdm_rsp, CONFIG_LOG_DEFAULT_LEVEL);

#include <industry_standard/spdm.h>
#include <library/spdm_common_lib.h>
#include <library/spdm_responder_lib.h>
#include <library/spdm_transport_mctp_lib.h>
#include <hal/library/memlib.h>

#include <cert.h>

#define NDEBUG
#define LIBSPDM_MAX_SPDM_MSG_SIZE 2048
#define LIBSPDM_MAX_SENDER_RECEIVER_BUFFER_SIZE (1024 - 0x100)
#define LIBSPDM_SENDER_BUFFER_SIZE LIBSPDM_MAX_SENDER_RECEIVER_BUFFER_SIZE
#define LIBSPDM_RECEIVER_BUFFER_SIZE LIBSPDM_MAX_SENDER_RECEIVER_BUFFER_SIZE
#define LIBSPDM_ASSERT(x) assert(x)

static bool m_send_receive_buffer_acquired = false;
static uint8_t m_send_receive_buffer[LIBSPDM_MAX_SENDER_RECEIVER_BUFFER_SIZE];
static libspdm_return_t spdm_device_acquire_sender_buffer (
	void *context, void **msg_buf_ptr)
{
	LIBSPDM_ASSERT (!m_send_receive_buffer_acquired);
	*msg_buf_ptr = m_send_receive_buffer;
	libspdm_zero_mem (m_send_receive_buffer, sizeof(m_send_receive_buffer));
	m_send_receive_buffer_acquired = true;
	return LIBSPDM_STATUS_SUCCESS;
}

static void spdm_device_release_sender_buffer (
	void *context, const void *msg_buf_ptr)
{
	LIBSPDM_ASSERT (m_send_receive_buffer_acquired);
	LIBSPDM_ASSERT (msg_buf_ptr == m_send_receive_buffer);
	m_send_receive_buffer_acquired = false;
	return;
}

static libspdm_return_t spdm_device_acquire_receiver_buffer (
	void *context, void **msg_buf_ptr)
{
	LIBSPDM_ASSERT (!m_send_receive_buffer_acquired);
	*msg_buf_ptr = m_send_receive_buffer;
	libspdm_zero_mem (m_send_receive_buffer, sizeof(m_send_receive_buffer));
	m_send_receive_buffer_acquired = true;
	return LIBSPDM_STATUS_SUCCESS;
}

static void spdm_device_release_receiver_buffer (
	void *context, const void *msg_buf_ptr)
{
	LIBSPDM_ASSERT (m_send_receive_buffer_acquired);
	LIBSPDM_ASSERT (msg_buf_ptr == m_send_receive_buffer);
	m_send_receive_buffer_acquired = false;
	return;
}

static libspdm_return_t spdm_device_send_message(void *spdm_context,
					  size_t message_size,
					  const void *message,
					  uint64_t timeout)
{
//	LOG_INF("spdm_device_send_message ctx=%p buffer=%p", spdm_context, message);
//	LOG_HEXDUMP_DBG(message, message_size, "spdm_device_send_message");
	struct spdm_fifo_item_t *item = (struct spdm_fifo_item_t *)malloc(sizeof(struct spdm_fifo_item_t));
	item->fifo_reserved = NULL;
	item->message = (uint8_t *)malloc(message_size);
	memcpy(item->message, message, message_size);
	item->message_size = message_size;

	k_fifo_put(&RSP_TO_REQ, item);

	return 0;
}

static libspdm_return_t spdm_device_receive_message(void *spdm_context, size_t *message_size, void **message, uint64_t timeout)
{
	struct spdm_fifo_item_t *item = k_fifo_get(&REQ_TO_RSP, K_FOREVER);
	//LOG_INF("spdm_device_receive_message ctx=%p message=%p size=%d", spdm_context, item->message, item->message_size);

	if (item != NULL && item->message != NULL)
	{
		uint8_t *buffer = *message;
		*message_size = item->message_size;
		memcpy(buffer, item->message, item->message_size);
		//LOG_HEXDUMP_DBG(buffer, item->message_size, "Incoming message");
		free(item->message);
		free(item);
	}

	return 0;
}

void spdm_server_connection_state_callback(
    void *spdm_context, libspdm_connection_state_t connection_state)
{
	bool res;
	void *data;
	void *data1;
	size_t data_size;
	size_t data1_size;
	libspdm_data_parameter_t parameter;
	uint8_t data8;
	uint16_t data16;
	uint32_t data32;
	libspdm_return_t status;
	void *hash;
	size_t hash_size;
	const uint8_t *root_cert;
	size_t root_cert_size;
	uint8_t index;
	spdm_version_number_t spdm_version;


	uint32_t m_use_measurement_hash_algo, m_use_asym_algo, m_use_hash_algo, m_use_req_asym_algo;
	uint8_t m_use_version = SPDM_MESSAGE_VERSION_10, m_use_slot_count = 1;

	switch (connection_state) {
		case LIBSPDM_CONNECTION_STATE_NOT_STARTED:
			/* clear perserved state*/
			//spdm_clear_negotiated_state(spdm_context);
			break;

		case LIBSPDM_CONNECTION_STATE_AFTER_VERSION:
#if 0
			if ((m_exe_connection & EXE_CONNECTION_VERSION_ONLY) != 0) {
				/* GET_VERSION is done, handle special PSK use case*/
				status = spdm_provision_psk_version_only (spdm_context, false);
				if (LIBSPDM_STATUS_IS_ERROR(status)) {
					LIBSPDM_ASSERT (false);
					return;
				}
				/* pass through to NEGOTIATED */
			} else {
				/* normal action - do nothing */
				break;
			}
#else
			break;
#endif
		case LIBSPDM_CONNECTION_STATE_NEGOTIATED:

			if (m_use_version == 0) {
				libspdm_zero_mem(&parameter, sizeof(parameter));
				parameter.location = LIBSPDM_DATA_LOCATION_CONNECTION;
				data_size = sizeof(spdm_version);
				libspdm_get_data(spdm_context, LIBSPDM_DATA_SPDM_VERSION, &parameter, &spdm_version, &data_size);
				m_use_version = spdm_version >> SPDM_VERSION_NUMBER_SHIFT_BIT;
			}

			/* Provision new content*/

			libspdm_zero_mem(&parameter, sizeof(parameter));
			parameter.location = LIBSPDM_DATA_LOCATION_CONNECTION;

			data_size = sizeof(data32);
			libspdm_get_data(spdm_context, LIBSPDM_DATA_MEASUREMENT_HASH_ALGO, &parameter, &data32, &data_size);
			m_use_measurement_hash_algo = data32;
			data_size = sizeof(data32);
			libspdm_get_data(spdm_context, LIBSPDM_DATA_BASE_ASYM_ALGO, &parameter, &data32, &data_size);
			m_use_asym_algo = data32;
			data_size = sizeof(data32);
			libspdm_get_data(spdm_context, LIBSPDM_DATA_BASE_HASH_ALGO, &parameter, &data32, &data_size);
			m_use_hash_algo = data32;
			data_size = sizeof(data16);
			libspdm_get_data(spdm_context, LIBSPDM_DATA_REQ_BASE_ASYM_ALG, &parameter, &data16, &data_size);
			m_use_req_asym_algo = data16;

			res = libspdm_read_responder_public_certificate_chain(m_use_hash_algo,
							 m_use_asym_algo,
							 &data, &data_size,
							 NULL, NULL);
			if (res) {
				libspdm_zero_mem(&parameter, sizeof(parameter));
				parameter.location = LIBSPDM_DATA_LOCATION_LOCAL;
				// parameter.additional_data[0] = index;
				parameter.additional_data[0] = 0;
				libspdm_set_data(spdm_context, LIBSPDM_DATA_LOCAL_PUBLIC_CERT_CHAIN, &parameter, data, data_size);

			}
#if 0
			if (m_use_req_asym_algo != 0) {
				if ((m_use_responder_capability_flags & SPDM_GET_CAPABILITIES_RESPONSE_FLAGS_PUB_KEY_ID_CAP) != 0) {
					m_use_slot_id = 0xFF;
				}
				if (m_use_slot_id == 0xFF) {
					res = libspdm_read_responder_public_key(m_use_asym_algo, &data, &data_size);
					if (res) {
						libspdm_zero_mem(&parameter, sizeof(parameter));
						parameter.location = LIBSPDM_DATA_LOCATION_LOCAL;
						libspdm_set_data(spdm_context, LIBSPDM_DATA_LOCAL_PUBLIC_KEY, &parameter, data, data_size);
						/* Do not free it.*/
					}
					res = libspdm_read_requester_public_key(m_use_req_asym_algo, &data, &data_size);
					if (res) {
						libspdm_zero_mem(&parameter, sizeof(parameter));
						parameter.location = LIBSPDM_DATA_LOCATION_LOCAL;
						libspdm_set_data(spdm_context, LIBSPDM_DATA_PEER_PUBLIC_KEY, &parameter, data, data_size);
						/* Do not free it.*/
					}
				} else {
					res = libspdm_read_requester_root_public_certificate(
						m_use_hash_algo, m_use_req_asym_algo, &data,
						&data_size, &hash, &hash_size);
					libspdm_x509_get_cert_from_cert_chain(
						(uint8_t *)data + sizeof(spdm_cert_chain_t) + hash_size,
						data_size - sizeof(spdm_cert_chain_t) - hash_size, 0,
						&root_cert, &root_cert_size);
					if (res) {
						libspdm_zero_mem(&parameter, sizeof(parameter));
						parameter.location = LIBSPDM_DATA_LOCATION_LOCAL;
						libspdm_set_data(spdm_context, LIBSPDM_DATA_PEER_PUBLIC_ROOT_CERT, &parameter, (void *)root_cert, root_cert_size);
						/* Do not free it.*/
					}
				}

				if (res) {
					if (m_use_slot_id == 0xFF) {
						/* 0xFF slot is only allowed in */
						m_use_mut_auth = SPDM_KEY_EXCHANGE_RESPONSE_MUT_AUTH_REQUESTED;
					}
					data8 = m_use_mut_auth;
					parameter.additional_data[0] = m_use_slot_id; /* req_slot_id;*/
					libspdm_set_data(spdm_context, LIBSPDM_DATA_MUT_AUTH_REQUESTED, &parameter, &data8, sizeof(data8));

					data8 = m_use_basic_mut_auth;
					parameter.additional_data[0] = m_use_slot_id; /* req_slot_id;*/
					libspdm_set_data(spdm_context, LIBSPDM_DATA_BASIC_MUT_AUTH_REQUESTED, &parameter, &data8, sizeof(data8));
				}
			}
#endif
			break;

		default:
			break;
	}

	return;
}

void spdm_server_session_state_callback(void *spdm_context,
                                        uint32_t session_id,
                                        libspdm_session_state_t session_state)
{
}

static void *spdm_server_init()
{
	void *spdm_ctx = (void *)malloc(libspdm_get_context_size());
	bool ret = false;
	
	LOG_INF("SPDM context size=%d ptr=%p", libspdm_get_context_size(), spdm_ctx);
	assert(spdm_ctx != NULL);

	libspdm_init_context(spdm_ctx);
	

	libspdm_register_device_io_func (
		spdm_ctx,
		spdm_device_send_message,
		spdm_device_receive_message);

	libspdm_register_device_buffer_func (
		spdm_ctx,
		LIBSPDM_SENDER_BUFFER_SIZE, // defined by the Integrator
		LIBSPDM_RECEIVER_BUFFER_SIZE, // defined by the Integrator
		spdm_device_acquire_sender_buffer,
		spdm_device_release_sender_buffer,
		spdm_device_acquire_receiver_buffer,
		spdm_device_release_receiver_buffer);

	libspdm_register_transport_layer_func (
		spdm_ctx,
		LIBSPDM_MAX_SPDM_MSG_SIZE, // defined by the Integrator
		LIBSPDM_MCTP_TRANSPORT_HEADER_SIZE,
		LIBSPDM_MCTP_TRANSPORT_TAIL_SIZE,
		libspdm_transport_mctp_encode_message,
		libspdm_transport_mctp_decode_message);

	LOG_INF("m_send_receive_buffer=%p", (void *)m_send_receive_buffer);

	size_t scratch_buffer_size = libspdm_get_sizeof_required_scratch_buffer(spdm_ctx);
	void *scratch_buffer = (void *)malloc(scratch_buffer_size);

	LOG_INF("SPDM scratch_buffer size=%d ptr=%p", scratch_buffer_size, scratch_buffer);
	assert(scratch_buffer != NULL);

	libspdm_set_scratch_buffer(spdm_ctx, scratch_buffer, scratch_buffer_size);
	libspdm_data_parameter_t parameter;
	spdm_version_number_t spdm_version[3];
	uint64_t data64;
	uint32_t data32;
	uint16_t data16;
	uint8_t data8;

	libspdm_zero_mem(&parameter, sizeof(parameter));
	parameter.location = LIBSPDM_DATA_LOCATION_LOCAL;
	spdm_version[0] = SPDM_MESSAGE_VERSION_10 << SPDM_VERSION_NUMBER_SHIFT_BIT;
	spdm_version[1] = SPDM_MESSAGE_VERSION_11 << SPDM_VERSION_NUMBER_SHIFT_BIT;
	spdm_version[2] = SPDM_MESSAGE_VERSION_12 << SPDM_VERSION_NUMBER_SHIFT_BIT;
	libspdm_set_data(spdm_ctx, LIBSPDM_DATA_SPDM_VERSION, &parameter, &spdm_version, sizeof(spdm_version));

	libspdm_zero_mem(&parameter, sizeof(parameter));
	parameter.location = LIBSPDM_DATA_LOCATION_LOCAL;
	data8 = 0;
	libspdm_set_data(spdm_ctx, LIBSPDM_DATA_CAPABILITY_CT_EXPONENT, &parameter, &data8, sizeof(data8));

	libspdm_zero_mem(&parameter, sizeof(parameter));
	parameter.location = LIBSPDM_DATA_LOCATION_LOCAL;
	data32 = 0 |
		SPDM_GET_CAPABILITIES_RESPONSE_FLAGS_CERT_CAP |
		SPDM_GET_CAPABILITIES_RESPONSE_FLAGS_MEAS_CAP_SIG |
		SPDM_GET_CAPABILITIES_RESPONSE_FLAGS_CHAL_CAP |
		SPDM_GET_CAPABILITIES_RESPONSE_FLAGS_ENCRYPT_CAP |
		SPDM_GET_CAPABILITIES_RESPONSE_FLAGS_MAC_CAP |
		SPDM_GET_CAPABILITIES_RESPONSE_FLAGS_KEY_EX_CAP |
		SPDM_GET_CAPABILITIES_RESPONSE_FLAGS_ENCAP_CAP |
		SPDM_GET_CAPABILITIES_RESPONSE_FLAGS_HBEAT_CAP |
		SPDM_GET_CAPABILITIES_RESPONSE_FLAGS_KEY_UPD_CAP |
		SPDM_GET_CAPABILITIES_RESPONSE_FLAGS_CHUNK_CAP |
		0;
	libspdm_set_data(spdm_ctx, LIBSPDM_DATA_CAPABILITY_FLAGS, &parameter, &data32, sizeof(data32));

	libspdm_zero_mem(&parameter, sizeof(parameter));
	parameter.location = LIBSPDM_DATA_LOCATION_LOCAL;
	data64 = 0;
	libspdm_set_data (spdm_ctx, LIBSPDM_DATA_CAPABILITY_RTT_US, &parameter, &data64, sizeof(data64));

	libspdm_zero_mem(&parameter, sizeof(parameter));
	parameter.location = LIBSPDM_DATA_LOCATION_LOCAL;
	data8 = SPDM_MEASUREMENT_SPECIFICATION_DMTF;
	libspdm_set_data (spdm_ctx, LIBSPDM_DATA_MEASUREMENT_SPEC, &parameter, &data8, sizeof(data8));

	libspdm_zero_mem(&parameter, sizeof(parameter));
	parameter.location = LIBSPDM_DATA_LOCATION_LOCAL;
	data32 = 0 |
		SPDM_ALGORITHMS_MEASUREMENT_HASH_ALGO_TPM_ALG_SHA_256 |
		SPDM_ALGORITHMS_MEASUREMENT_HASH_ALGO_TPM_ALG_SHA_384 |
		0;
	libspdm_set_data (spdm_ctx, LIBSPDM_DATA_MEASUREMENT_HASH_ALGO, &parameter, &data32, sizeof(data32));

	libspdm_zero_mem(&parameter, sizeof(parameter));
	parameter.location = LIBSPDM_DATA_LOCATION_LOCAL;
	data32 = 0 | \
		SPDM_ALGORITHMS_BASE_ASYM_ALGO_TPM_ALG_ECDSA_ECC_NIST_P256 |
		SPDM_ALGORITHMS_BASE_ASYM_ALGO_TPM_ALG_ECDSA_ECC_NIST_P384 |
		0;
	libspdm_set_data (spdm_ctx, LIBSPDM_DATA_BASE_ASYM_ALGO, &parameter, &data32, sizeof(data32));

	libspdm_zero_mem(&parameter, sizeof(parameter));
	parameter.location = LIBSPDM_DATA_LOCATION_LOCAL;
	data32 = 0 | \
		SPDM_ALGORITHMS_BASE_HASH_ALGO_TPM_ALG_SHA_256 |
		SPDM_ALGORITHMS_BASE_HASH_ALGO_TPM_ALG_SHA_384 |
		0;
	libspdm_set_data (spdm_ctx, LIBSPDM_DATA_BASE_HASH_ALGO, &parameter, &data32, sizeof(data32));

	libspdm_zero_mem(&parameter, sizeof(parameter));
	parameter.location = LIBSPDM_DATA_LOCATION_LOCAL;
	data16 = 0 |
		SPDM_ALGORITHMS_BASE_ASYM_ALGO_TPM_ALG_ECDSA_ECC_NIST_P256 |
		SPDM_ALGORITHMS_BASE_ASYM_ALGO_TPM_ALG_ECDSA_ECC_NIST_P384 |
		0;
	libspdm_set_data(spdm_ctx, LIBSPDM_DATA_REQ_BASE_ASYM_ALG, &parameter,
		  &data16, sizeof(data16));

	libspdm_zero_mem(&parameter, sizeof(parameter));
	parameter.location = LIBSPDM_DATA_LOCATION_LOCAL;
	data16 = 0 |
		SPDM_ALGORITHMS_DHE_NAMED_GROUP_SECP_256_R1 |
		SPDM_ALGORITHMS_DHE_NAMED_GROUP_SECP_384_R1 |
		0;
	libspdm_set_data (spdm_ctx, LIBSPDM_DATA_DHE_NAME_GROUP, &parameter, &data16, sizeof(data16));

	libspdm_zero_mem(&parameter, sizeof(parameter));
	parameter.location = LIBSPDM_DATA_LOCATION_LOCAL;
	data16 = 0 | \
		SPDM_ALGORITHMS_AEAD_CIPHER_SUITE_AES_256_GCM |
		0;
	libspdm_set_data (spdm_ctx, LIBSPDM_DATA_AEAD_CIPHER_SUITE, &parameter, &data16, sizeof(data16));

	/*
	libspdm_zero_mem(&parameter, sizeof(parameter));
	parameter.location = LIBSPDM_DATA_LOCATION_LOCAL;
	data16 = 0 | \
		SPDM_ALGORITHMS_BASE_ASYM_ALGO_TPM_ALG_ECDSA_ECC_NIST_P256 |
		SPDM_ALGORITHMS_BASE_ASYM_ALGO_TPM_ALG_ECDSA_ECC_NIST_P384 |
		0;
	libspdm_set_data (spdm_ctx, LIBSPDM_DATA_REQ_BASE_ASYM_ALG, &parameter, &data16, sizeof(data16));
	*/
	libspdm_zero_mem(&parameter, sizeof(parameter));
	parameter.location = LIBSPDM_DATA_LOCATION_LOCAL;
	data16 = 0 | \
		SPDM_ALGORITHMS_KEY_SCHEDULE_HMAC_HASH |
		0;
	libspdm_set_data (spdm_ctx, LIBSPDM_DATA_KEY_SCHEDULE, &parameter, &data16, sizeof(data16));

	libspdm_zero_mem(&parameter, sizeof(parameter));
	parameter.location = LIBSPDM_DATA_LOCATION_LOCAL;
	data8 = SPDM_ALGORITHMS_OPAQUE_DATA_FORMAT_1;
	libspdm_set_data(spdm_ctx, LIBSPDM_DATA_OTHER_PARAMS_SUPPORT, &parameter,
		  &data8, sizeof(data8));

	libspdm_zero_mem(&parameter, sizeof(parameter));
	parameter.location = LIBSPDM_DATA_LOCATION_LOCAL;
	data8 = 0xF0;
	libspdm_set_data(spdm_ctx, LIBSPDM_DATA_HEARTBEAT_PERIOD, &parameter,
		  &data8, sizeof(data8));

	#if 0
	libspdm_register_get_response_func(
		spdm_ctx, spdm_get_response_vendor_defined_request);
	#endif

	libspdm_register_session_state_callback_func(
		spdm_ctx, spdm_server_session_state_callback);
	libspdm_register_connection_state_callback_func(
		spdm_ctx, spdm_server_connection_state_callback);

#if LIBSPDM_CHECK_SPDM_CONTEXT
	ret = libspdm_check_context(spdm_ctx);
	if (!ret) {
		LOG_ERR("SPDM Context check invalid");
		goto cleanup;
	}
#endif

	return spdm_ctx;
cleanup:
	libspdm_deinit_context(spdm_ctx);
	free(spdm_ctx);
	return NULL;
}

void spdm_responder_main(void *a, void *b, void *c)
{
	void *spdm_context = NULL;
	spdm_context = spdm_server_init();
	if (spdm_context != NULL) {
		// spdm_device_evidence_collection(spdm_context);
		while (1) {
			libspdm_return_t ret = libspdm_responder_dispatch_message(spdm_context);
			if (LIBSPDM_STATUS_IS_ERROR(ret)) {
				LOG_ERR("libspdm_responder_dispatch_message ret=%08x", ret);
				continue;
			}
#if 0
			else if (LIBSPDM_STATUS_IS_SUCCESS(ret)) {
				LOG_INF("Success");

			}
#endif
		}
		libspdm_deinit_context(spdm_context);
		free(spdm_context);
	}

}
```

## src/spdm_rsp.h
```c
#pragma once

void spdm_responder_main(void *, void *, void *);
```
